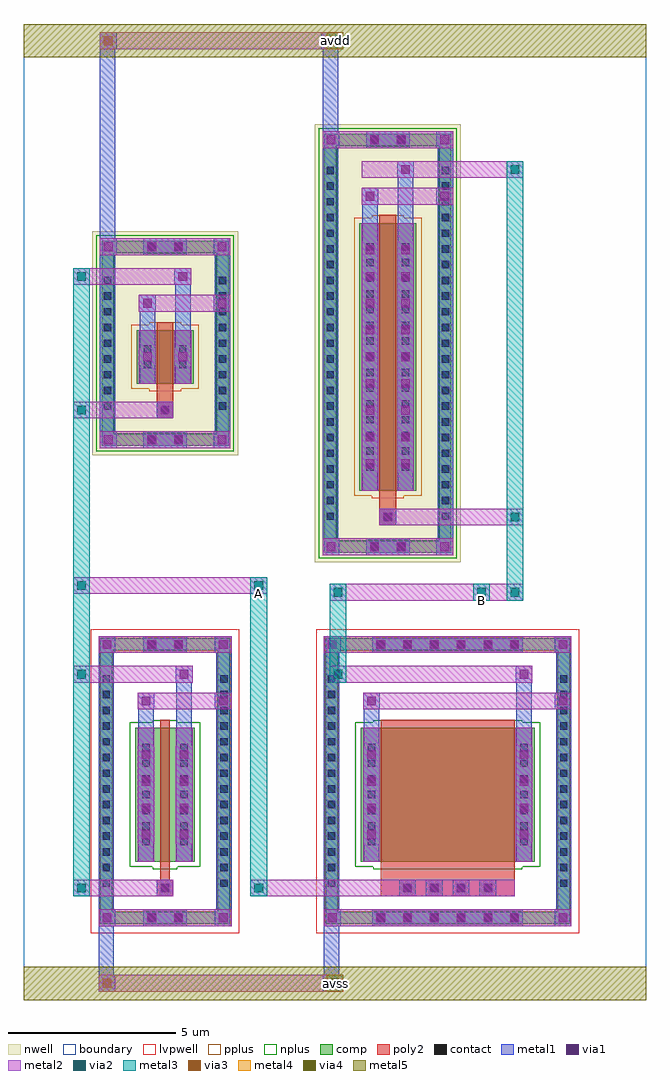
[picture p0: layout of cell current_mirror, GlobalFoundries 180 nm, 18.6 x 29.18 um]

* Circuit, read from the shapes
.subckt current_mirror A B avdd avss
XM1 A A avss avss nfet_03v3 w=4u l=0.28u
XM2 B A avss avss nfet_03v3 w=4u l=4u
XM3 A A avdd avdd pfet_03v3 w=1.6u l=0.5u
XM4 B B avdd avdd pfet_03v3 w=8u l=0.5u
.ends

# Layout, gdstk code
import gdstk
lib = gdstk.Library(unit=1e-6, precision=1e-09)
def R(c, l, rs):  # rectangles x0, y0, x1, y1
    for r in rs: c.add(gdstk.rectangle(r[:2], r[2:], *l))
def A(c, l, x, y, w, h, nx, ny, dx, dy):  # array of equal rectangles
    R(c, l, [(x+i*dx, y+j*dy, x+i*dx+w, y+j*dy+h) for i in range(nx) for j in range(ny)])
boundary = (0, 0)
nwell = (21, 0)
comp = (22, 0)
poly2 = (30, 0)
pplus = (31, 0)
nplus = (32, 0)
contact = (33, 0)
metal1 = (34, 0)
via1 = (35, 0)
metal2 = (36, 0)
via2 = (38, 0)
via3 = (40, 0)
via4 = (41, 0)
metal3 = (42, 0)
metal4 = (46, 0)
metal5 = (81, 0)
lvpwell = (204, 0)

m1_2 = lib.new_cell('M1$2')
R(m1_2, comp, [(-1.94,-4.265,1.94,-3.905), (-1.94,-3.905,-1.58,3.905), (1.58,-3.905,1.94,3.905), (-0.89,-2.405,0.89,1.595), (-1.94,3.905,1.94,4.265)])
R(m1_2, poly2, [(-0.25,-3.445,0.25,-2.945), (-0.14,-2.945,0.14,1.835)])
R(m1_2, pplus, [(-0.61,-4.295,0.61,-4.285), (-1.96,-4.285,1.96,-3.885), (-1.96,-3.885,-1.56,-3.265), (-0.61,-3.885,0.61,-3.875), (1.56,-3.885,1.96,-3.265), (-1.97,-3.265,-1.55,3.265), (1.55,-3.265,1.97,3.265), (-1.96,3.265,-1.56,3.885), (1.56,3.265,1.96,3.885), (-0.61,3.875,0.61,3.885), (-1.96,3.885,1.96,4.285), (-0.61,4.285,0.61,4.295)])
R(m1_2, nplus, [(-0.37,-2.635,0.37,-2.565), (-1.05,-2.565,1.05,1.755), (-0.37,1.755,0.37,1.825)])
A(m1_2, contact, -1.87, -3.165, 0.22, 0.22, 1, 14, 0, 0.47)
A(m1_2, contact, 1.65, -3.165, 0.22, 0.22, 1, 14, 0, 0.47)
A(m1_2, contact, -0.68, -1.925, 0.22, 0.22, 1, 7, 0, 0.47)
A(m1_2, contact, 0.46, -1.925, 0.22, 0.22, 1, 7, 0, 0.47)
R(m1_2, contact, [(-0.51,-4.195,-0.29,-3.975), (0.29,-4.195,0.51,-3.975), (-0.11,-3.305,0.11,-3.085), (-0.51,3.975,-0.29,4.195), (0.29,3.975,0.51,4.195)])
R(m1_2, metal1, [(-1.99,-4.335,-1.49,-3.835), (-0.65,-4.335,0.65,-3.835), (1.49,-4.335,1.99,-3.835), (-1.99,-3.835,-1.53,3.835), (1.53,-3.835,1.99,3.835), (-0.25,-3.445,0.25,-2.945), (-0.8,-2.405,-0.34,-1.855), (0.34,-2.405,0.8,-1.855), (-0.82,-1.855,-0.32,1.045), (0.32,-1.855,0.82,1.045), (-0.8,1.045,-0.34,2.145), (0.34,1.045,0.8,2.945), (-0.82,2.145,-0.32,2.645), (0.32,2.945,0.82,3.445), (-1.99,3.835,-1.49,4.335), (-0.65,3.835,0.65,4.335), (1.49,3.835,1.99,4.335)])
A(m1_2, via1, -0.7, -1.735, 0.26, 0.26, 1, 4, 0, 0.8)
A(m1_2, via1, 0.44, -1.735, 0.26, 0.26, 1, 4, 0, 0.8)
R(m1_2, via1, [(-1.87,-4.215,-1.61,-3.955), (-0.53,-4.215,-0.27,-3.955), (0.27,-4.215,0.53,-3.955), (1.61,-4.215,1.87,-3.955), (-0.13,-3.325,0.13,-3.065), (-0.7,2.265,-0.44,2.525), (0.44,3.065,0.7,3.325), (-1.87,3.955,-1.61,4.215), (-0.53,3.955,-0.27,4.215), (0.27,3.955,0.53,4.215), (1.61,3.955,1.87,4.215)])
R(m1_2, metal2, [(-1.99,-4.335,1.99,-3.835), (-0.25,-3.445,0.25,-2.945), (-0.82,-2.405,-0.32,1.595), (0.32,-2.405,0.82,1.595), (-0.82,2.145,0.82,2.645), (-0.82,2.945,0.82,3.445), (-1.99,3.835,1.99,4.335)])
R(m1_2, lvpwell, [(-2.22,-4.545,2.22,4.545)])

via_stack_a2e89513_23 = lib.new_cell('via_stack_a2e89513$23')
R(via_stack_a2e89513_23, metal2, [(-0.25,-0.25,0.25,0.25)])
R(via_stack_a2e89513_23, via2, [(-0.13,-0.13,0.13,0.13)])
R(via_stack_a2e89513_23, metal3, [(-0.25,-0.25,0.25,0.25)])

l_route_261ebb80 = lib.new_cell('L_route_261ebb80')
R(l_route_261ebb80, metal2, [(1.47,21.38,3.44,21.88)])
R(l_route_261ebb80, via2, [(1.59,21.5,1.85,21.76)])
R(l_route_261ebb80, metal3, [(1.47,12.64,1.97,21.88)])

l_route_0b815acd = lib.new_cell('L_route_0b815acd')
R(l_route_0b815acd, metal2, [(1.47,9.49,3.4,9.99)])
R(l_route_0b815acd, via2, [(1.59,9.61,1.85,9.87)])
R(l_route_0b815acd, metal3, [(1.47,9.49,1.97,12.14)])

l_route_1d105673 = lib.new_cell('L_route_1d105673')
R(l_route_1d105673, metal2, [(1.47,17.39,3.97,17.89)])
R(l_route_1d105673, via2, [(1.59,17.51,1.85,17.77)])
R(l_route_1d105673, metal3, [(1.47,12.64,1.97,17.89)])

l_route_70e60bcc = lib.new_cell('L_route_70e60bcc')
R(l_route_70e60bcc, metal2, [(1.47,3.1,3.97,3.6)])
R(l_route_70e60bcc, via2, [(1.59,3.22,1.85,3.48)])
R(l_route_70e60bcc, metal3, [(1.47,3.1,1.97,12.14)])

c_m3 = lib.new_cell('M3')
R(c_m3, nwell, [(-2.18,-6.545,2.18,6.545)])
R(c_m3, comp, [(-1.9,-6.265,1.9,-5.905), (-1.9,-5.905,-1.54,5.905), (1.54,-5.905,1.9,5.905), (-0.85,-4.405,0.85,3.595), (-1.9,5.905,1.9,6.265)])
R(c_m3, poly2, [(-0.25,-5.445,0.25,3.835)])
R(c_m3, pplus, [(-0.48,-4.635,0.48,-4.565), (-1.01,-4.565,1.01,3.755), (-0.48,3.755,0.48,3.825)])
R(c_m3, nplus, [(-2.06,-6.425,2.06,-5.885), (-2.06,-5.885,-1.52,-5.38), (-0.61,-5.885,0.61,-5.875), (1.52,-5.885,2.06,-5.38), (-2.06,-5.38,-1.51,5.38), (1.51,-5.38,2.06,5.38), (-2.06,5.38,-1.52,5.885), (1.52,5.38,2.06,5.885), (-0.61,5.875,0.61,5.885), (-2.06,5.885,2.06,6.425)])
A(c_m3, contact, -1.83, -5.28, 0.22, 0.22, 1, 23, 0, 0.47)
A(c_m3, contact, 1.61, -5.28, 0.22, 0.22, 1, 23, 0, 0.47)
A(c_m3, contact, -0.64, -3.805, 0.22, 0.22, 1, 15, 0, 0.47)
A(c_m3, contact, 0.42, -3.805, 0.22, 0.22, 1, 15, 0, 0.47)
R(c_m3, contact, [(-0.51,-6.195,-0.29,-5.975), (0.29,-6.195,0.51,-5.975), (-0.11,-5.305,0.11,-5.085), (-0.51,5.975,-0.29,6.195), (0.29,5.975,0.51,6.195)])
R(c_m3, metal1, [(-1.95,-6.335,-1.45,-5.835), (-0.65,-6.335,0.65,-5.835), (1.45,-6.335,1.95,-5.835), (-1.95,-5.835,-1.49,5.835), (1.49,-5.835,1.95,5.835), (-0.25,-5.445,0.25,-4.945), (-0.76,-4.405,-0.3,-3.855), (0.3,-4.405,0.76,-3.855), (-0.78,-3.855,-0.28,3.045), (0.28,-3.855,0.78,3.045), (-0.76,3.045,-0.3,4.145), (0.3,3.045,0.76,4.945), (-0.78,4.145,-0.28,4.645), (0.28,4.945,0.78,5.445), (-1.95,5.835,-1.45,6.335), (-0.65,5.835,0.65,6.335), (1.45,5.835,1.95,6.335)])
A(c_m3, via1, -0.66, -3.735, 0.26, 0.26, 1, 9, 0, 0.8)
A(c_m3, via1, 0.4, -3.735, 0.26, 0.26, 1, 9, 0, 0.8)
R(c_m3, via1, [(-1.83,-6.215,-1.57,-5.955), (-0.53,-6.215,-0.27,-5.955), (0.27,-6.215,0.53,-5.955), (1.57,-6.215,1.83,-5.955), (-0.13,-5.325,0.13,-5.065), (-0.66,4.265,-0.4,4.525), (0.4,5.065,0.66,5.325), (-1.83,5.955,-1.57,6.215), (-0.53,5.955,-0.27,6.215), (0.27,5.955,0.53,6.215), (1.57,5.955,1.83,6.215)])
R(c_m3, metal2, [(-1.95,-6.335,1.95,-5.835), (-0.25,-5.445,0.25,-4.945), (-0.78,-4.405,-0.28,3.595), (0.28,-4.405,0.78,3.595), (-0.78,4.145,0.78,4.645), (-0.78,4.945,0.78,5.445), (-1.95,5.835,1.95,6.335)])

via_stack_7fdd5994_2 = lib.new_cell('via_stack_7fdd5994$2')
R(via_stack_7fdd5994_2, metal2, [(-0.25,-0.25,0.25,0.25)])
R(via_stack_7fdd5994_2, via2, [(-0.13,-0.13,0.13,0.13)])
R(via_stack_7fdd5994_2, via3, [(-0.13,-0.13,0.13,0.13)])
R(via_stack_7fdd5994_2, via4, [(-0.13,-0.13,0.13,0.13)])
R(via_stack_7fdd5994_2, metal3, [(-0.25,-0.25,0.25,0.25)])
R(via_stack_7fdd5994_2, metal4, [(-0.25,-0.25,0.25,0.25)])
R(via_stack_7fdd5994_2, metal5, [(-0.25,-0.25,0.25,0.25)])

l_route_9d17e116 = lib.new_cell('L_route_9d17e116')
R(l_route_9d17e116, metal1, [(8.93,0.25,9.43,0.75), (8.97,0.75,9.43,2.64)])
R(l_route_9d17e116, via1, [(9.05,0.37,9.31,0.63)])
R(l_route_9d17e116, metal2, [(8.93,0.25,9.43,0.75)])

l_route_3668c173 = lib.new_cell('L_route_3668c173')
R(l_route_3668c173, metal1, [(5.71,8.69,6.21,9.19), (5.75,9.19,6.21,10.45)])
R(l_route_3668c173, via1, [(5.83,8.81,6.09,9.07)])
R(l_route_3668c173, metal2, [(5.04,8.69,6.21,9.19)])

l_route_401f96ee = lib.new_cell('L_route_401f96ee')
R(l_route_401f96ee, metal2, [(6.77,3.1,10.67,3.6)])
R(l_route_401f96ee, via2, [(6.89,3.22,7.15,3.48)])
R(l_route_401f96ee, metal3, [(6.77,3.1,7.27,12.14)])

c_route_9af5f0b9 = lib.new_cell('c_route_9af5f0b9')
R(c_route_9af5f0b9, metal2, [(9.14,9.49,10.14,9.99), (9.14,11.94,13.43,12.44)])
R(c_route_9af5f0b9, via2, [(9.26,9.61,9.52,9.87), (9.26,12.06,9.52,12.32)])
R(c_route_9af5f0b9, metal3, [(9.14,9.49,9.64,12.44)])

c_m2 = lib.new_cell('M2')
R(c_m2, comp, [(-3.65,-4.265,3.65,-3.905), (-3.65,-3.905,-3.29,3.905), (3.29,-3.905,3.65,3.905), (-2.6,-2.405,2.6,1.595), (-3.65,3.905,3.65,4.265)])
R(c_m2, poly2, [(-2,-3.445,2,1.835)])
R(c_m2, pplus, [(-2.21,-4.295,2.21,-4.285), (-3.67,-4.285,3.67,-3.885), (-3.67,-3.885,-3.27,-3.265), (-2.21,-3.885,2.21,-3.875), (3.27,-3.885,3.67,-3.265), (-3.68,-3.265,-3.26,3.265), (3.26,-3.265,3.68,3.265), (-3.67,3.265,-3.27,3.885), (3.27,3.265,3.67,3.885), (-2.21,3.875,2.21,3.885), (-3.67,3.885,3.67,4.285), (-2.21,4.285,2.21,4.295)])
R(c_m2, nplus, [(-2.23,-2.635,2.23,-2.565), (-2.76,-2.565,2.76,1.755), (-2.23,1.755,2.23,1.825)])
A(c_m2, contact, -2.11, -4.195, 0.22, 0.22, 6, 2, 0.8, 8.17)
A(c_m2, contact, -1.31, -3.305, 0.22, 0.22, 4, 1, 0.8, 0)
A(c_m2, contact, -3.58, -3.165, 0.22, 0.22, 1, 14, 0, 0.47)
A(c_m2, contact, 3.36, -3.165, 0.22, 0.22, 1, 14, 0, 0.47)
A(c_m2, contact, -2.39, -1.925, 0.22, 0.22, 1, 7, 0, 0.47)
A(c_m2, contact, 2.17, -1.925, 0.22, 0.22, 1, 7, 0, 0.47)
A(c_m2, metal1, -1.45, -3.445, 0.5, 0.5, 4, 1, 0.8, 0)
R(c_m2, metal1, [(-3.7,-4.335,-3.2,-3.835), (-2.25,-4.335,2.25,-3.835), (3.2,-4.335,3.7,-3.835), (-3.7,-3.835,-3.24,3.835), (3.24,-3.835,3.7,3.835), (-2.51,-2.405,-2.05,-1.855), (2.05,-2.405,2.51,-1.855), (-2.53,-1.855,-2.03,1.045), (2.03,-1.855,2.53,1.045), (-2.51,1.045,-2.05,2.145), (2.05,1.045,2.51,2.945), (-2.53,2.145,-2.03,2.645), (2.03,2.945,2.53,3.445), (-3.7,3.835,-3.2,4.335), (-2.25,3.835,2.25,4.335), (3.2,3.835,3.7,4.335)])
A(c_m2, via1, -2.13, -4.215, 0.26, 0.26, 6, 2, 0.8, 8.17)
A(c_m2, via1, -1.33, -3.325, 0.26, 0.26, 4, 1, 0.8, 0)
A(c_m2, via1, -2.41, -1.735, 0.26, 0.26, 1, 4, 0, 0.8)
A(c_m2, via1, 2.15, -1.735, 0.26, 0.26, 1, 4, 0, 0.8)
R(c_m2, via1, [(-3.58,-4.215,-3.32,-3.955), (3.32,-4.215,3.58,-3.955), (-2.41,2.265,-2.15,2.525), (2.15,3.065,2.41,3.325), (-3.58,3.955,-3.32,4.215), (3.32,3.955,3.58,4.215)])
R(c_m2, metal2, [(-3.7,-4.335,3.7,-3.835), (-2,-3.445,2,-2.945), (-2.53,-2.405,-2.03,1.595), (2.03,-2.405,2.53,1.595), (-2.53,2.145,2.53,2.645), (-2.53,2.945,2.53,3.445), (-3.7,3.835,3.7,4.335)])
R(c_m2, lvpwell, [(-3.93,-4.545,3.93,4.545)])

l_route_4c3c9079 = lib.new_cell('L_route_4c3c9079')
R(l_route_4c3c9079, metal1, [(2.23,0.25,2.73,0.75), (2.23,0.75,2.69,2.64)])
R(l_route_4c3c9079, via1, [(2.35,0.37,2.61,0.63)])
R(l_route_4c3c9079, metal2, [(2.23,0.25,9.05,0.75)])

straight_route_ca1693f4 = lib.new_cell('straight_route_ca1693f4')
R(straight_route_ca1693f4, metal2, [(1.47,12.14,7.27,12.64)])

l_route_b678fe23 = lib.new_cell('L_route_b678fe23')
R(l_route_b678fe23, metal1, [(15.87,8.69,16.37,9.19), (15.91,9.19,16.37,10.45)])
R(l_route_b678fe23, via1, [(15.99,8.81,16.25,9.07)])
R(l_route_b678fe23, metal2, [(15.2,8.69,16.37,9.19)])

c_route_1f64fc76 = lib.new_cell('c_route_1f64fc76')
R(c_route_1f64fc76, metal2, [(13.93,11.94,14.93,12.44), (11.66,24.58,14.93,25.08)])
R(c_route_1f64fc76, via2, [(14.55,12.06,14.81,12.32), (14.55,24.7,14.81,24.96)])
R(c_route_1f64fc76, metal3, [(14.43,11.94,14.93,25.08)])

c_route_4b62a17f = lib.new_cell('c_route_4b62a17f')
R(c_route_4b62a17f, metal2, [(13.93,11.94,14.93,12.44), (11.13,14.19,14.93,14.69)])
R(c_route_4b62a17f, via2, [(14.55,12.06,14.81,12.32), (14.55,14.31,14.81,14.57)])
R(c_route_4b62a17f, metal3, [(14.43,11.94,14.93,14.69)])

compass_8b261e8c_1 = lib.new_cell('compass_8b261e8c$1')
R(compass_8b261e8c_1, metal5, [(-9.3,-0.5,9.3,0.5)])

rectangle_8b261e8c_1 = lib.new_cell('rectangle_8b261e8c$1')
rectangle_8b261e8c_1.add(gdstk.Reference(compass_8b261e8c_1, (9.3,0.5)))

c_m4 = lib.new_cell('M4')
R(c_m4, nwell, [(-2.18,-3.345,2.18,3.345)])
R(c_m4, comp, [(-1.9,-3.065,1.9,-2.705), (-1.9,-2.705,-1.54,2.705), (1.54,-2.705,1.9,2.705), (-0.85,-1.205,0.85,0.395), (-1.9,2.705,1.9,3.065)])
R(c_m4, poly2, [(-0.25,-2.245,0.25,0.635)])
R(c_m4, pplus, [(-0.48,-1.435,0.48,-1.365), (-1.01,-1.365,1.01,0.555), (-0.48,0.555,0.48,0.625)])
R(c_m4, nplus, [(-2.06,-3.225,2.06,-2.685), (-2.06,-2.685,-1.52,-2.09), (-0.61,-2.685,0.61,-2.675), (1.52,-2.685,2.06,-2.09), (-2.06,-2.09,-1.51,2.09), (1.51,-2.09,2.06,2.09), (-2.06,2.09,-1.52,2.685), (1.52,2.09,2.06,2.685), (-0.61,2.675,0.61,2.685), (-2.06,2.685,2.06,3.225)])
A(c_m4, contact, -1.83, -1.99, 0.22, 0.22, 1, 9, 0, 0.47)
A(c_m4, contact, 1.61, -1.99, 0.22, 0.22, 1, 9, 0, 0.47)
R(c_m4, contact, [(-0.51,-2.995,-0.29,-2.775), (0.29,-2.995,0.51,-2.775), (-0.11,-2.105,0.11,-1.885), (-0.64,-0.75,-0.42,-0.53), (0.42,-0.75,0.64,-0.53), (-0.64,-0.28,-0.42,-0.06), (0.42,-0.28,0.64,-0.06), (-0.51,2.775,-0.29,2.995), (0.29,2.775,0.51,2.995)])
R(c_m4, metal1, [(-1.95,-3.135,-1.45,-2.635), (-0.65,-3.135,0.65,-2.635), (1.45,-3.135,1.95,-2.635), (-1.95,-2.635,-1.49,2.635), (1.49,-2.635,1.95,2.635), (-0.25,-2.245,0.25,-1.745), (-0.76,-1.205,-0.3,-0.655), (0.3,-1.205,0.76,-0.655), (-0.78,-0.655,-0.28,-0.155), (0.28,-0.655,0.78,-0.155), (-0.76,-0.155,-0.3,0.945), (0.3,-0.155,0.76,1.745), (-0.78,0.945,-0.28,1.445), (0.28,1.745,0.78,2.245), (-1.95,2.635,-1.45,3.135), (-0.65,2.635,0.65,3.135), (1.45,2.635,1.95,3.135)])
R(c_m4, via1, [(-1.83,-3.015,-1.57,-2.755), (-0.53,-3.015,-0.27,-2.755), (0.27,-3.015,0.53,-2.755), (1.57,-3.015,1.83,-2.755), (-0.13,-2.125,0.13,-1.865), (-0.66,-0.535,-0.4,-0.275), (0.4,-0.535,0.66,-0.275), (-0.66,1.065,-0.4,1.325), (0.4,1.865,0.66,2.125), (-1.83,2.755,-1.57,3.015), (-0.53,2.755,-0.27,3.015), (0.27,2.755,0.53,3.015), (1.57,2.755,1.83,3.015)])
R(c_m4, metal2, [(-1.95,-3.135,1.95,-2.635), (-0.25,-2.245,0.25,-1.745), (-0.78,-1.205,-0.28,0.395), (0.28,-1.205,0.78,0.395), (-0.78,0.945,0.78,1.445), (-0.78,1.745,0.78,2.245), (-1.95,2.635,1.95,3.135)])

l_route_854bcf3a = lib.new_cell('L_route_854bcf3a')
R(l_route_854bcf3a, metal1, [(2.27,22.34,2.73,28.43), (2.27,28.43,2.77,28.93)])
R(l_route_854bcf3a, via1, [(2.39,28.55,2.65,28.81)])
R(l_route_854bcf3a, metal2, [(2.27,28.43,9.05,28.93)])

l_route_912ef19c = lib.new_cell('L_route_912ef19c')
R(l_route_912ef19c, metal1, [(8.93,25.54,9.39,28.43), (8.89,28.43,9.39,28.93)])
R(l_route_912ef19c, via1, [(9.01,28.55,9.27,28.81)])
R(l_route_912ef19c, metal2, [(8.89,28.43,9.39,28.93)])

l_route_7fcb8801 = lib.new_cell('L_route_7fcb8801')
R(l_route_7fcb8801, metal1, [(5.67,20.58,6.17,21.08), (5.71,21.08,6.17,22.34)])
R(l_route_7fcb8801, via1, [(5.79,20.7,6.05,20.96)])
R(l_route_7fcb8801, metal2, [(5,20.58,6.17,21.08)])

l_route_44892cc1 = lib.new_cell('L_route_44892cc1')
R(l_route_44892cc1, metal1, [(12.33,23.78,12.83,24.28), (12.37,24.28,12.83,25.54)])
R(l_route_44892cc1, via1, [(12.45,23.9,12.71,24.16)])
R(l_route_44892cc1, metal2, [(11.66,23.78,12.83,24.28)])

compass_8b261e8c = lib.new_cell('compass_8b261e8c')
R(compass_8b261e8c, metal5, [(-9.3,-0.5,9.3,0.5)])

rectangle_8b261e8c = lib.new_cell('rectangle_8b261e8c')
rectangle_8b261e8c.add(gdstk.Reference(compass_8b261e8c, (9.3,0.5)))

current_mirror = lib.new_cell('current_mirror')
R(current_mirror, boundary, [(0,0,18.6,29.18)])
current_mirror.add(gdstk.Reference(m1_2, (4.22,6.545)))
current_mirror.add(gdstk.Reference(via_stack_a2e89513_23, (1.72,12.39)))
current_mirror.add(gdstk.Reference(l_route_261ebb80, (0,0)))
current_mirror.add(gdstk.Reference(l_route_0b815acd, (0,0)))
current_mirror.add(gdstk.Reference(l_route_1d105673, (0,0)))
current_mirror.add(gdstk.Reference(l_route_70e60bcc, (0,0)))
current_mirror.add(gdstk.Reference(c_m3, (10.88,19.635)))
current_mirror.add(gdstk.Reference(via_stack_7fdd5994_2, (9.3,0.5)))
current_mirror.add(gdstk.Reference(via_stack_a2e89513_23, (7.02,12.39)))
current_mirror.add(gdstk.Reference(l_route_9d17e116, (0,0)))
current_mirror.add(gdstk.Reference(l_route_3668c173, (0,0)))
current_mirror.add(gdstk.Reference(l_route_401f96ee, (0,0)))
current_mirror.add(gdstk.Reference(c_route_9af5f0b9, (0,0)))
current_mirror.add(gdstk.Reference(c_m2, (12.67,6.545)))
current_mirror.add(gdstk.Reference(l_route_4c3c9079, (0,0)))
current_mirror.add(gdstk.Reference(straight_route_ca1693f4, (0,0)))
current_mirror.add(gdstk.Reference(via_stack_a2e89513_23, (13.68,12.19)))
current_mirror.add(gdstk.Reference(l_route_b678fe23, (0,0)))
current_mirror.add(gdstk.Reference(c_route_1f64fc76, (0,0)))
current_mirror.add(gdstk.Reference(c_route_4b62a17f, (0,0)))
current_mirror.add(gdstk.Reference(rectangle_8b261e8c_1, (0,0)))
current_mirror.add(gdstk.Reference(c_m4, (4.22,19.635)))
current_mirror.add(gdstk.Reference(l_route_854bcf3a, (0,0)))
current_mirror.add(gdstk.Reference(l_route_912ef19c, (0,0)))
current_mirror.add(gdstk.Reference(l_route_7fcb8801, (0,0)))
current_mirror.add(gdstk.Reference(l_route_44892cc1, (0,0)))
current_mirror.add(gdstk.Reference(rectangle_8b261e8c, (0,28.18)))
current_mirror.add(gdstk.Reference(via_stack_7fdd5994_2, (9.3,28.68)))
current_mirror.add(gdstk.Label('avss', (9.3,0.5), layer=81, texttype=10))
current_mirror.add(gdstk.Label('avdd', (9.3,28.68), layer=81, texttype=10))
current_mirror.add(gdstk.Label('A', (7.02,12.14), layer=42, texttype=10))
current_mirror.add(gdstk.Label('B', (13.68,11.94), layer=42, texttype=10))

lib.write_gds('current_mirror.gds')
